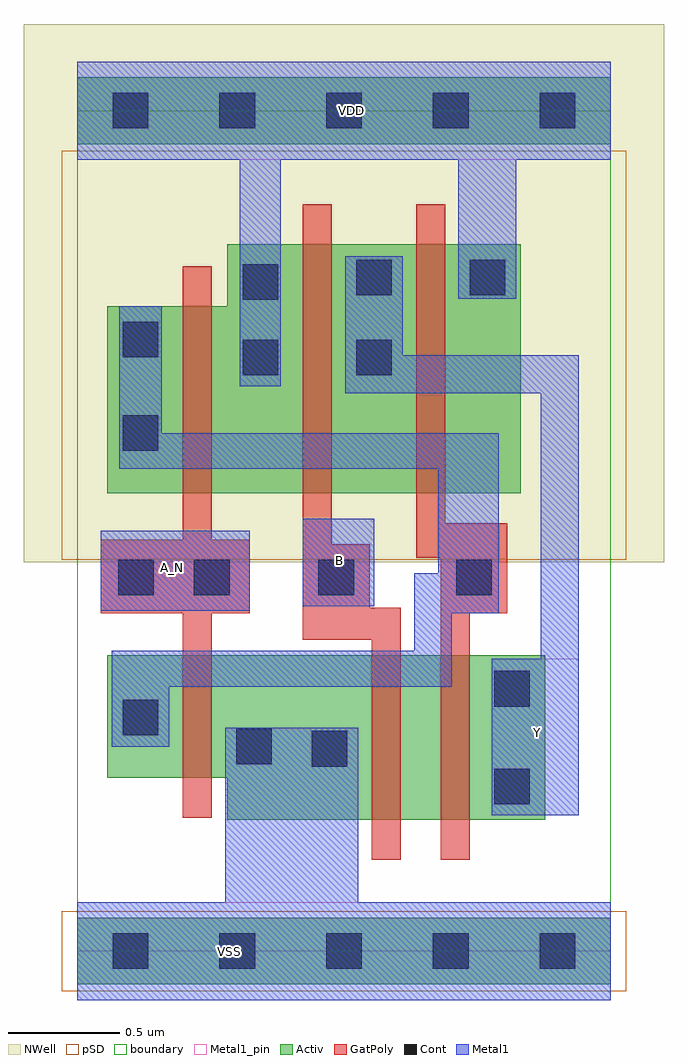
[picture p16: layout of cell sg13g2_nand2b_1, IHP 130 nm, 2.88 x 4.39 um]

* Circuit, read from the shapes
.subckt sg13g2_nand2b_1 A_N B VDD VSS Y
XM1 VSS A_N n1 VSS sg13_lv_nmos w=0.55u l=0.13u
XM2 n2 B VSS VSS sg13_lv_nmos w=0.74u l=0.13u
XM3 Y n1 n2 VSS sg13_lv_nmos w=0.74u l=0.13u
XM4 VDD A_N n1 VDD sg13_lv_pmos w=0.84u l=0.13u
XM5 Y B VDD VDD sg13_lv_pmos w=1.12u l=0.13u
XM6 VDD n1 Y VDD sg13_lv_pmos w=1.12u l=0.13u
.ends

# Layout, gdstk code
import gdstk
lib = gdstk.Library(unit=1e-6, precision=1e-09)
def R(c, l, rs):  # rectangles x0, y0, x1, y1
    for r in rs: c.add(gdstk.rectangle(r[:2], r[2:], *l))
def P(c, l, *ps):  # polygons
    for p in ps: c.add(gdstk.Polygon(p, *l))
Activ = (1, 0)
GatPoly = (5, 0)
Cont = (6, 0)
Metal1 = (8, 0)
Metal1_pin = (8, 2)
pSD = (14, 0)
NWell = (31, 0)
boundary = (189, 4)

sg13g2_nand2b_1 = lib.new_cell('sg13g2_nand2b_1')
R(sg13g2_nand2b_1, Activ, [(0,-0.15,2.4,0.15), (0,3.63,2.4,3.93)])
P(sg13g2_nand2b_1, Activ, [(1.995,3.18),(0.675,3.18),(0.675,2.9),(0.135,2.9),(0.135,2.06),(1.995,2.06)],
  [(2.105,1.33),(0.135,1.33),(0.135,0.78),(0.675,0.78),(0.675,0.59),(2.105,0.59)])
P(sg13g2_nand2b_1, GatPoly, [(1.935,1.925),(1.655,1.925),(1.655,3.36),(1.525,3.36),(1.525,1.77),(1.635,1.77),(1.635,0.41),(1.765,0.41),(1.765,1.52),(1.935,1.52)],
  [(1.455,1.545),(1.315,1.545),(1.315,1.83),(1.145,1.83),(1.145,3.36),(1.015,3.36),(1.015,1.4),(1.325,1.4),(1.325,0.41),(1.455,0.41)],
  [(0.775,1.85),(0.605,1.85),(0.605,3.08),(0.475,3.08),(0.475,1.85),(0.105,1.85),(0.105,1.52),(0.475,1.52),(0.475,0.6),(0.605,0.6),(0.605,1.52),(0.775,1.52)])
R(sg13g2_nand2b_1, Cont, [(0.16,-0.08,0.32,0.08), (0.16,-0.08,0.32,0.08), (0.64,-0.08,0.8,0.08), (0.64,-0.08,0.8,0.08), (1.12,-0.08,1.28,0.08), (1.12,-0.08,1.28,0.08), (1.6,-0.08,1.76,0.08), (1.6,-0.08,1.76,0.08), (2.08,-0.08,2.24,0.08), (2.08,-0.08,2.24,0.08), (1.875,0.66,2.035,0.82), (1.055,0.83,1.215,0.99), (0.715,0.84,0.875,1), (0.205,0.97,0.365,1.13), (1.875,1.1,2.035,1.26), (0.185,1.6,0.345,1.76), (0.525,1.6,0.685,1.76), (1.085,1.6,1.245,1.76), (1.705,1.6,1.865,1.76), (0.205,2.25,0.365,2.41), (0.745,2.59,0.905,2.75), (1.255,2.59,1.415,2.75), (0.205,2.67,0.365,2.83), (0.745,2.93,0.905,3.09), (1.255,2.95,1.415,3.11), (1.765,2.95,1.925,3.11), (0.16,3.7,0.32,3.86), (0.16,3.7,0.32,3.86), (0.64,3.7,0.8,3.86), (0.64,3.7,0.8,3.86), (1.12,3.7,1.28,3.86), (1.12,3.7,1.28,3.86), (1.6,3.7,1.76,3.86), (1.6,3.7,1.76,3.86), (2.08,3.7,2.24,3.86), (2.08,3.7,2.24,3.86)])
R(sg13g2_nand2b_1, Metal1, [(0.105,1.53,0.775,1.89), (1.015,1.55,1.335,1.945)])
P(sg13g2_nand2b_1, Metal1, [(1.205,2.51),(1.205,3.125),(1.465,3.125),(1.465,2.68),(2.255,2.68),(2.255,0.61),(1.865,0.61),(1.865,1.315),(2.085,1.315),(2.085,2.51)],
  [(0.665,0.22),(0.665,1.005),(1.265,1.005),(1.265,0.22),(2.4,0.22),(2.4,-0.22),(0,-0.22),(0,0.22)],
  [(0.73,2.54),(0.73,3.56),(0,3.56),(0,4),(2.4,4),(2.4,3.56),(1.975,3.56),(1.975,2.935),(1.715,2.935),(1.715,3.56),(0.915,3.56),(0.915,2.54)],
  [(1.895,2.33),(0.38,2.33),(0.38,2.9),(0.19,2.9),(0.19,2.17),(1.625,2.17),(1.625,1.7),(1.515,1.7),(1.515,1.35),(0.155,1.35),(0.155,0.92),(0.415,0.92),(0.415,1.19),(1.685,1.19),(1.685,1.52),(1.895,1.52)])
R(sg13g2_nand2b_1, Metal1_pin, [(0,-0.22,2.4,0.22), (1.865,0.61,2.255,1.315), (0.105,1.53,0.775,1.89), (1.015,1.55,1.335,1.945), (0,3.56,2.4,4)])
R(sg13g2_nand2b_1, pSD, [(-0.07,-0.18,2.47,0.18), (-0.07,1.76,2.47,3.6)])
R(sg13g2_nand2b_1, NWell, [(-0.24,1.75,2.64,4.17)])
R(sg13g2_nand2b_1, boundary, [(0,0,2.4,3.78)])
sg13g2_nand2b_1.add(gdstk.Label('VSS', (0.685,0), layer=8, texttype=25))
sg13g2_nand2b_1.add(gdstk.Label('A_N', (0.43,1.725), layer=8, texttype=25))
sg13g2_nand2b_1.add(gdstk.Label('Y', (2.07,0.985), layer=8, texttype=25))
sg13g2_nand2b_1.add(gdstk.Label('B', (1.18,1.755), layer=8, texttype=25))
sg13g2_nand2b_1.add(gdstk.Label('VDD', (1.235,3.78), layer=8, texttype=25))

lib.write_gds('sg13g2_nand2b_1.gds')
